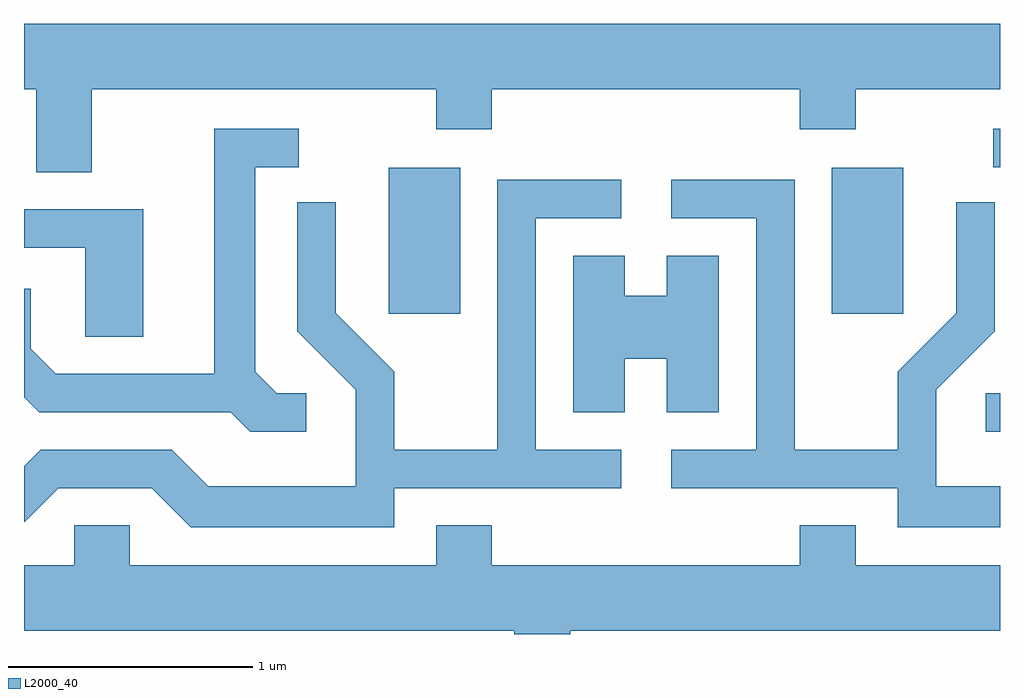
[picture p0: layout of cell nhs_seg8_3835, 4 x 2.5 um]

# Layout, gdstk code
import gdstk
lib = gdstk.Library(unit=1e-6, precision=1e-09)
def R(c, l, rs):  # rectangles x0, y0, x1, y1
    for r in rs: c.add(gdstk.rectangle(r[:2], r[2:], *l))
def P(c, l, *ps):  # polygons
    for p in ps: c.add(gdstk.Polygon(p, *l))
L2000_40 = (2000, 40)

nhs_seg8_3835 = lib.new_cell('nhs_seg8_3835')
R(nhs_seg8_3835, L2000_40, [(303.553,1897.171,303.611,1897.329), (301.106,1897.656,301.399,1898.254), (302.921,1897.656,303.214,1898.254), (303.583,1898.256,303.611,1898.414)])
P(nhs_seg8_3835, L2000_40, [(299.889,1898.576),(301.301,1898.576),(301.301,1898.411),(301.529,1898.411),(301.529,1898.576),(302.791,1898.576),(302.791,1898.411),(303.019,1898.411),(303.019,1898.576),(303.611,1898.576),(303.611,1898.844),(299.611,1898.844),(299.611,1898.576),(299.661,1898.576),(299.661,1898.236),(299.889,1898.236)],
  [(300.768,1897.329),(300.647,1897.329),(300.559,1897.417),(300.559,1898.256),(300.738,1898.256),(300.738,1898.414),(300.391,1898.414),(300.391,1897.409),(299.742,1897.409),(299.639,1897.512),(299.639,1897.758),(299.611,1897.758),(299.611,1897.314),(299.674,1897.251),(300.459,1897.251),(300.539,1897.171),(300.768,1897.171)],
  [(301.129,1896.941),(302.058,1896.941),(302.058,1897.099),(301.709,1897.099),(301.709,1898.046),(302.058,1898.046),(302.058,1898.204),(301.551,1898.204),(301.551,1897.099),(301.129,1897.099),(301.129,1897.417),(300.889,1897.657),(300.889,1898.113),(300.731,1898.113),(300.731,1897.584),(300.971,1897.344),(300.971,1896.949),(300.367,1896.949),(300.217,1897.099),(299.679,1897.099),(299.611,1897.031),(299.611,1896.8),(299.752,1896.941),(300.134,1896.941),(300.294,1896.781),(301.129,1896.781)],
  [(303.611,1896.949),(303.349,1896.949),(303.349,1897.344),(303.589,1897.584),(303.589,1898.113),(303.431,1898.113),(303.431,1897.657),(303.191,1897.417),(303.191,1897.099),(302.769,1897.099),(302.769,1898.204),(302.263,1898.204),(302.263,1898.046),(302.611,1898.046),(302.611,1897.099),(302.263,1897.099),(302.263,1896.941),(303.191,1896.941),(303.191,1896.781),(303.611,1896.781)],
  [(300.099,1898.084),(299.611,1898.084),(299.611,1897.926),(299.861,1897.926),(299.861,1897.561),(300.099,1897.561)],
  [(302.074,1897.471),(302.246,1897.471),(302.246,1897.251),(302.459,1897.251),(302.459,1897.894),(302.246,1897.894),(302.246,1897.729),(302.074,1897.729),(302.074,1897.894),(301.861,1897.894),(301.861,1897.251),(302.074,1897.251)],
  [(301.849,1896.356),(303.611,1896.356),(303.611,1896.624),(303.019,1896.624),(303.019,1896.789),(302.791,1896.789),(302.791,1896.624),(301.529,1896.624),(301.529,1896.789),(301.301,1896.789),(301.301,1896.624),(300.044,1896.624),(300.044,1896.789),(299.816,1896.789),(299.816,1896.624),(299.611,1896.624),(299.611,1896.356),(301.621,1896.356),(301.621,1896.342),(301.849,1896.342)])

lib.write_gds('nhs_seg8_3835.gds')
